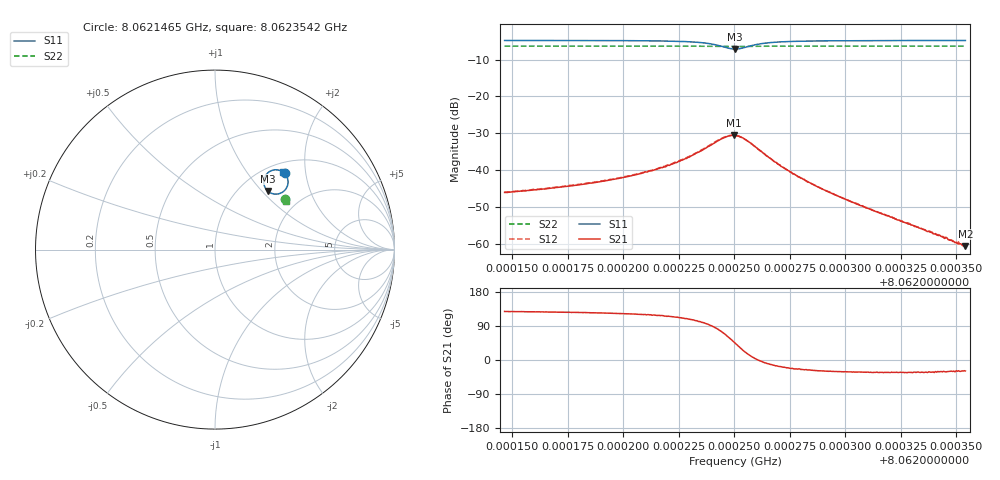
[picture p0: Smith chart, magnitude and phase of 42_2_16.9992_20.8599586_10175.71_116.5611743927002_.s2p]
#  HZ  S  RI  R  50.00
! Rohde & Schwarz Vector Network Analyzer
! Rohde-Schwarz,ZNB20-2Port,1311601062101988,3.16
! Created: UTC 3/20/2024, 10:53:56 PM
! freq[Hz]  re:S11  im:S11  re:S21  im:S21  re:S12  im:S12  re:S22  im:S22
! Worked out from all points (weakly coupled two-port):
!   401 points, 8.0621465 GHz to 8.0623542 GHz, reference 50 ohm
!   highest |S21| = -30.60 dB at 8.0622498 GHz (marker M1); lowest = -60.7 dB at 8.0623542 GHz (marker M2)
!   lowest |S11| = -7.1 dB at 8.0622504 GHz (marker M3), VSWR 2.57, Z = 66.8 + j54 ohm
!   |S11| at or under -10 dB: nowhere
!   |S22| runs from -6.5 to -6.3 dB; largest |S21 - S12| = 0.0024
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8.06214654e9  0.3882 0.4244  -0.00306 0.00389  -0.00281 0.00411  0.3907 0.2821
8.06216107e9  0.3905 0.4218  -0.00325 0.00429  -0.00304 0.00451  0.3912 0.2815
8.06218132e9  0.3942 0.4171  -0.00368 0.0052  -0.00341 0.00549  0.3919 0.2803
8.06220053e9  0.399 0.4093  -0.00425 0.00674  -0.00391 0.00712  0.3925 0.279
8.0622161e9  0.4041 0.3974  -0.00489 0.00923  -0.00426 0.00979  0.393 0.2776
8.06222752e9  0.4071 0.3788  -0.00476 0.0132  -0.00405 0.0136  0.3933 0.2763
8.06223842e9  0.3966 0.3405  -0.00133 0.0209  0.000204 0.0212  0.3925 0.2745
8.06224517e9  0.3535 0.3105  0.00889 0.0257  0.0109 0.0255  0.3905 0.2736
8.06224777e9  0.3239 0.3108  0.0151 0.0248  0.0173 0.0238  0.3892 0.274
8.06224984e9  0.2998 0.3218  0.02 0.0217  0.0217 0.0202  0.3885 0.2748
8.06225036e9  0.2945 0.3259  0.0209 0.0206  0.0225 0.0191  0.3886 0.275
8.06225452e9  0.2717 0.3713  0.0245 0.0104  0.0251 0.0085  0.3884 0.2769
8.06225867e9  0.2799 0.4099  0.0214 0.00244  0.0216 0.000942  0.3895 0.2781
8.06226282e9  0.2979 0.4306  0.0171 -0.0016  0.0171 -0.00261  0.3907 0.2785
8.06227217e9  0.3292 0.444  0.0102 -0.00352  0.0101 -0.00414  0.3924 0.2782
8.06227944e9  0.3434 0.4445  0.00732 -0.00314  0.00707 -0.00375  0.3933 0.2777
8.06228515e9  0.3509 0.4437  0.00573 -0.00294  0.00554 -0.00331  0.3937 0.2773
8.06230228e9  0.3641 0.4401  0.00321 -0.00195  0.0031 -0.00215  0.3948 0.2762
8.06231993e9  0.3714 0.4367  0.00197 -0.00128  0.00189 -0.00137  0.3955 0.2751
8.06234484e9  0.3774 0.4332  0.00101 -0.000602  0.000984 -0.000679  0.3964 0.2736
8.06235263e9  0.3788 0.4323  0.000846 -0.000462  0.000808 -0.00052  0.3967 0.2734
8.06235419e9  0.379 0.4323  0.000811 -0.000449  0.000817 -0.000489  0.3968 0.2731
